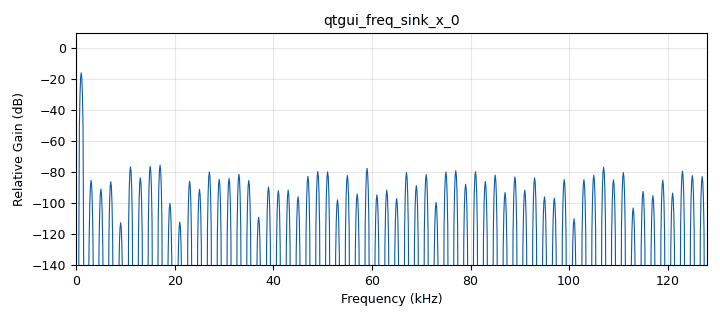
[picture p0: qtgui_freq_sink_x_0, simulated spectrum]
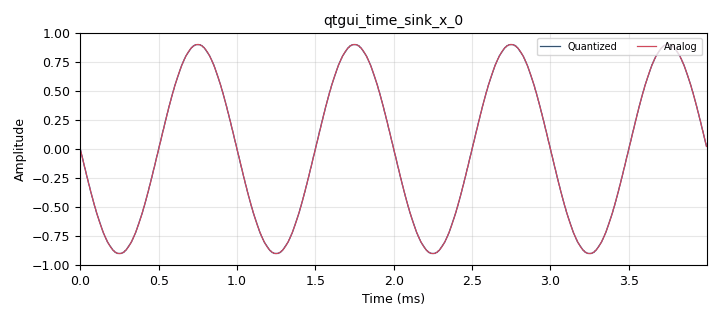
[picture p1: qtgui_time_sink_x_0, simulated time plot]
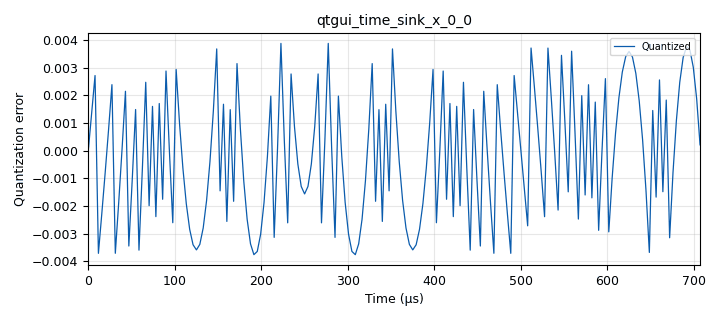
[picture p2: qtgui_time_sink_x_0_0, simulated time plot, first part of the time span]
<?xml version='1.0' encoding='utf-8'?>
<?grc format='1' created='3.7.10'?>
<flow_graph>
<block>
<key>options</key>
<param><key>id</key><value>Quantizer</value></param>
<param><key>author</key><value>Alexandros-Apostolos A. Boulogeorgos</value></param>
<param><key>generate_options</key><value>qt_gui</value></param>
<param><key>title</key><value>quantizer</value></param>
</block>
<block>
<key>variable_qtgui_range</key>
<param><key>id</key><value>freq</value></param>
<param><key>value</key><value>1e3</value></param>
<param><key>gui_hint</key><value>1,0,1,1</value></param>
<param><key>label</key><value>Frequency</value></param>
<param><key>orient</key><value>Qt.Horizontal</value></param>
<param><key>start</key><value>100</value></param>
<param><key>step</key><value>10</value></param>
<param><key>stop</key><value>samp_rate/2.0</value></param>
</block>
<block>
<key>variable_qtgui_chooser</key>
<param><key>id</key><value>res</value></param>
<param><key>value</key><value>8</value></param>
<param><key>gui_hint</key><value>0,0,1,1</value></param>
<param><key>label</key><value>Resolution</value></param>
<param><key>labels</key><value>["2 bits", "3 bits", "4 bits", "5 bits", "6 bits", "7bits", "8 bits", "12 bits", "16 bits"]</value></param>
<param><key>num_opts</key><value>0</value></param>
<param><key>options</key><value>[2, 3, 4, 5, 6, 7, 8, 12, 16]</value></param>
<param><key>orient</key><value>Qt.QHBoxLayout</value></param>
<param><key>type</key><value>int</value></param>
<param><key>widget</key><value>radio_buttons</value></param>
</block>
<block>
<key>variable</key>
<param><key>id</key><value>samp_rate</value></param>
<param><key>value</key><value>256e3</value></param>
</block>
<block>
<key>analog_sig_source_x</key>
<param><key>id</key><value>analog_sig_source_x_0</value></param>
<param><key>amp</key><value>0.9</value></param>
<param><key>freq</key><value>freq</value></param>
<param><key>offset</key><value>0</value></param>
<param><key>type</key><value>float</value></param>
<param><key>samp_rate</key><value>samp_rate</value></param>
<param><key>waveform</key><value>analog.GR_COS_WAVE</value></param>
</block>
<block>
<key>blocks_sub_xx</key>
<param><key>id</key><value>blocks_sub_xx_0</value></param>
<param><key>type</key><value>float</value></param>
</block>
<block>
<key>blocks_throttle</key>
<param><key>id</key><value>blocks_throttle_0</value></param>
<param><key>samples_per_second</key><value>samp_rate</value></param>
<param><key>type</key><value>float</value></param>
</block>
<block>
<key>channels_quantizer</key>
<param><key>id</key><value>channels_quantizer_0</value></param>
<param><key>bits</key><value>res</value></param>
</block>
<block>
<key>import</key>
<param><key>id</key><value>import_0</value></param>
<param><key>import</key><value>import math</value></param>
</block>
<block>
<key>qtgui_freq_sink_x</key>
<param><key>id</key><value>qtgui_freq_sink_x_0</value></param>
<param><key>bw</key><value>samp_rate</value></param>
<param><key>fc</key><value>0</value></param>
<param><key>fftsize</key><value>2048</value></param>
<param><key>gui_hint</key><value>3,0,1,1</value></param>
<param><key>showports</key><value>True</value></param>
<param><key>freqhalf</key><value>False</value></param>
<param><key>type</key><value>float</value></param>
<param><key>wintype</key><value>firdes.WIN_BLACKMAN_hARRIS</value></param>
</block>
<block>
<key>qtgui_time_sink_x</key>
<param><key>id</key><value>qtgui_time_sink_x_0</value></param>
<param><key>gui_hint</key><value>2,0,1,1</value></param>
<param><key>color1</key><value>"blue"</value></param>
<param><key>label1</key><value>Quantized </value></param>
<param><key>width1</key><value>2</value></param>
<param><key>color2</key><value>"red"</value></param>
<param><key>label2</key><value>Analog</value></param>
<param><key>width2</key><value>2</value></param>
<param><key>nconnections</key><value>2</value></param>
<param><key>size</key><value>1024</value></param>
<param><key>srate</key><value>samp_rate</value></param>
<param><key>type</key><value>float</value></param>
</block>
<block>
<key>qtgui_time_sink_x</key>
<param><key>id</key><value>qtgui_time_sink_x_0_0</value></param>
<param><key>autoscale</key><value>True</value></param>
<param><key>gui_hint</key><value>4,0,1,1</value></param>
<param><key>color1</key><value>"blue"</value></param>
<param><key>label1</key><value>Quantized </value></param>
<param><key>width1</key><value>2</value></param>
<param><key>size</key><value>1024</value></param>
<param><key>srate</key><value>samp_rate</value></param>
<param><key>type</key><value>float</value></param>
<param><key>ylabel</key><value>Quantization error</value></param>
<param><key>ymax</key><value>0.1</value></param>
<param><key>ymin</key><value>-0.1</value></param>
</block>
<connection><source_block_id>analog_sig_source_x_0</source_block_id><sink_block_id>blocks_sub_xx_0</sink_block_id><source_key>0</source_key><sink_key>0</sink_key></connection>
<connection><source_block_id>analog_sig_source_x_0</source_block_id><sink_block_id>channels_quantizer_0</sink_block_id><source_key>0</source_key><sink_key>0</sink_key></connection>
<connection><source_block_id>analog_sig_source_x_0</source_block_id><sink_block_id>qtgui_time_sink_x_0</sink_block_id><source_key>0</source_key><sink_key>1</sink_key></connection>
<connection><source_block_id>blocks_sub_xx_0</source_block_id><sink_block_id>qtgui_time_sink_x_0_0</sink_block_id><source_key>0</source_key><sink_key>0</sink_key></connection>
<connection><source_block_id>blocks_throttle_0</source_block_id><sink_block_id>qtgui_freq_sink_x_0</sink_block_id><source_key>0</source_key><sink_key>0</sink_key></connection>
<connection><source_block_id>blocks_throttle_0</source_block_id><sink_block_id>qtgui_time_sink_x_0</sink_block_id><source_key>0</source_key><sink_key>0</sink_key></connection>
<connection><source_block_id>channels_quantizer_0</source_block_id><sink_block_id>blocks_sub_xx_0</sink_block_id><source_key>0</source_key><sink_key>1</sink_key></connection>
<connection><source_block_id>channels_quantizer_0</source_block_id><sink_block_id>blocks_throttle_0</sink_block_id><source_key>0</source_key><sink_key>0</sink_key></connection>
</flow_graph>
